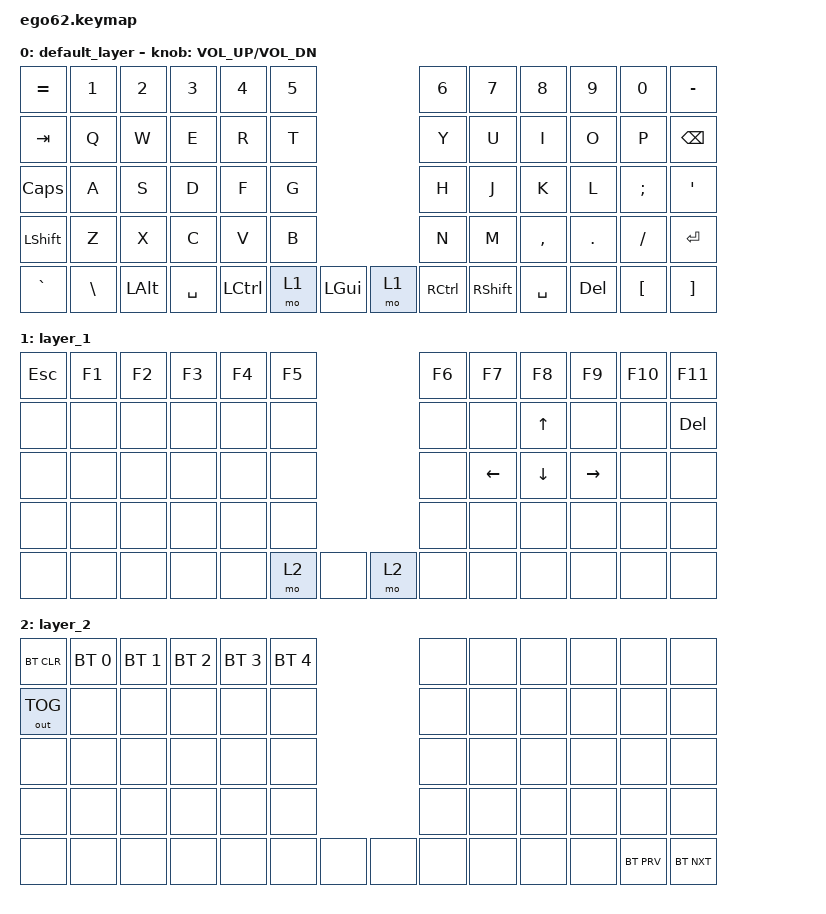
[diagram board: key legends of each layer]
/*
 * Copyright (c) 2020 The ZMK Contributors
 *
 * SPDX-License-Identifier: MIT
 */

#include <behaviors.dtsi>
#include <dt-bindings/zmk/bt.h>
#include <dt-bindings/zmk/keys.h>
#include <dt-bindings/zmk/outputs.h>

/ {
    keymap {
        compatible = "zmk,keymap";

        default_layer {
            bindings = <
&kp EQUAL     &kp N1         &kp N2        &kp N3     &kp N4     &kp N5                   &kp N6     &kp N7           &kp N8     &kp N9      &kp N0         &kp MINUS
&kp TAB       &kp Q          &kp W         &kp E      &kp R      &kp T                    &kp Y      &kp U            &kp I      &kp O       &kp P          &kp BACKSPACE
&kp CAPSLOCK  &kp A          &kp S         &kp D      &kp F      &kp G                    &kp H      &kp J            &kp K      &kp L       &kp SEMICOLON  &kp SQT
&kp LSHFT     &kp Z          &kp X         &kp C      &kp V      &kp B                    &kp N      &kp M            &kp COMMA  &kp DOT     &kp FSLH       &kp ENTER
&kp GRAVE     &kp BACKSLASH  &kp LEFT_ALT  &kp SPACE  &kp LCTRL  &mo 1   &kp LGUI  &mo 1  &kp RCTRL  &kp RIGHT_SHIFT  &kp SPACE  &kp DELETE  &kp LBKT       &kp RBKT
            >;

            sensor-bindings = <&inc_dec_kp C_VOL_UP C_VOL_DN>;
        };

        layer_1 {
            bindings = <
&kp ESC  &kp F1  &kp F2  &kp F3  &kp F4  &kp F5                &kp F6  &kp F7    &kp F8    &kp F9     &kp F10  &kp F11
&none    &none   &none   &none   &none   &none                 &none   &none     &kp UP    &none      &none    &kp DEL
&none    &none   &none   &none   &none   &none                 &none   &kp LEFT  &kp DOWN  &kp RIGHT  &none    &none
&none    &none   &none   &none   &none   &none                 &none   &none     &none     &none      &none    &none
&none    &none   &none   &none   &none   &mo 2   &none  &mo 2  &none   &none     &none     &none      &none    &none
            >;
        };

        layer_2 {
            bindings = <
&bt BT_CLR    &bt BT_SEL 0  &bt BT_SEL 1  &bt BT_SEL 2  &bt BT_SEL 3  &bt BT_SEL 4                &none  &none  &none  &none  &none       &none
&out OUT_TOG  &none         &none         &none         &none         &none                       &none  &none  &none  &none  &none       &none
&none         &none         &none         &none         &none         &none                       &none  &none  &none  &none  &none       &none
&none         &none         &none         &none         &none         &none                       &none  &none  &none  &none  &none       &none
&none         &none         &none         &none         &none         &none         &none  &none  &none  &none  &none  &none  &bt BT_PRV  &bt BT_NXT
            >;
        };
    };
};
